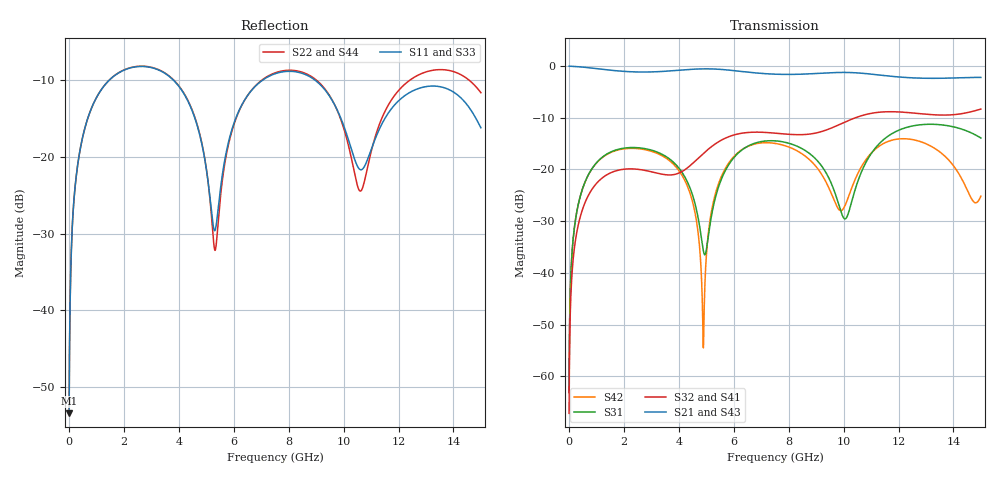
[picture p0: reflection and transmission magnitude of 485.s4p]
! Created with skrf 1.8.0 (http://scikit-rf.org).
# GHz S RI R 50.0
!freq ReS11 ImS11 ReS12 ImS12 ReS13 ImS13
! ReS14 ImS14
! ReS21 ImS21 ReS22 ImS22 ReS23 ImS23
! ReS24 ImS24
! ReS31 ImS31 ReS32 ImS32 ReS33 ImS33
! ReS34 ImS34
! ReS41 ImS41 ReS42 ImS42 ReS43 ImS43
! ReS44 ImS44
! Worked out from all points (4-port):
!   2499 points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, 5 MHz to 15 GHz, reference 50 ohm
!   strongest paths, dB at 5 MHz, 3.476 GHz, 7.19 GHz, 11.1 GHz, 15 GHz:
!     S21: 0.0, -1.0, -1.5, -1.6, -2.2
!     S43: 0.0, -1.0, -1.5, -1.6, -2.2
!     S32: -67.2, -21.0, -12.8, -9.1, -8.3
!     S41: -67.2, -21.0, -12.9, -9.1, -8.3
!     S31: -63.1, -17.3, -14.5, -16.2, -13.9
!     S42: -63.1, -17.6, -14.8, -16.3, -25.1
!   lowest |S11| = -53.5 dB at 5 MHz (marker M1), VSWR 1.00, Z = 50.2 + j0.128 ohm
!   |S11| at or under -10 dB: start of sweep to 1.458 GHz; 3.813 GHz to 7.037 GHz (3.225 GHz wide, 59.4 % of centre); 8.974 GHz to end of sweep
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0.005  0.00169 0.00128  0.9983 -0.00329  8.57e-05 0.000691  -8.31e-05 -0.00043
       0.9983 -0.00329  0.00169 0.00128  -8.31e-05 -0.00043  8.56e-05 0.000691
       8.57e-05 0.000691  -8.31e-05 -0.00043  0.00169 0.00128  0.9983 -0.00329
       -8.31e-05 -0.00043  8.56e-05 0.000691  0.9983 -0.00329  0.00169 0.00128
0.3626511  0.0317 0.0956  0.9561 -0.2348  0.0158 0.0464  -0.0129 -0.0283
           0.9561 -0.2348  0.0318 0.0956  -0.0129 -0.0283  0.0153 0.0465
           0.0158 0.0464  -0.0129 -0.0283  0.0317 0.0956  0.9561 -0.2348
           -0.0129 -0.0283  0.0153 0.0465  0.9561 -0.2348  0.0318 0.0956
1.619545  0.2904 0.1679  0.4997 -0.7563  0.1418 0.053  -0.0952 0.00239
          0.4997 -0.7563  0.2921 0.1666  -0.0952 0.00247  0.1372 0.06
          0.1418 0.053  -0.0952 0.00247  0.2903 0.1679  0.4997 -0.7563
          -0.0952 0.00239  0.1372 0.06  0.4997 -0.7563  0.2921 0.1666
4.89579  0.055 -0.093  -0.8887 -0.3076  -0.0145 -0.00724  -0.0427 0.1364
         -0.8887 -0.3076  0.0477 -0.0986  -0.042 0.1367  0.00177 0.000645
         -0.0145 -0.00724  -0.042 0.1367  0.054 -0.0922  -0.8889 -0.3072
         -0.0427 0.1364  0.00177 0.000645  -0.8889 -0.3072  0.048 -0.0974
8.228429  0.3594 -0.0297  -0.00565 0.8318  0.1398 -0.099  0.2076 -0.0605
          -0.00565 0.8318  0.3649 -0.0368  0.208 -0.063  0.1377 -0.0718
          0.1398 -0.099  0.208 -0.063  0.3628 -0.0271  -0.00591 0.8302
          0.2076 -0.0605  0.1377 -0.0718  -0.00591 0.8302  0.3691 -0.0393
10.96707  0.0981 0.043  0.8375 -0.0335  0.0669 0.12  -0.0314 -0.3461
          0.8375 -0.0335  0.0796 0.0631  -0.0355 -0.3457  0.019 0.1388
          0.0669 0.12  -0.0355 -0.3457  0.0979 0.0374  0.8379 -0.0312
          -0.0314 -0.3461  0.019 0.1388  0.8379 -0.0312  0.0792 0.0583
15  0.147 -0.0497  -0.5098 -0.5861  -0.1107 -0.1685  -0.2873 0.2543
    -0.5098 -0.5861  0.1979 -0.1729  -0.2823 0.2604  0.0333 0.0441
    -0.1107 -0.1685  -0.2823 0.2604  0.1538 -0.0456  -0.5079 -0.5868
    -0.2873 0.2543  0.0333 0.0441  -0.5079 -0.5868  0.1971 -0.1782
